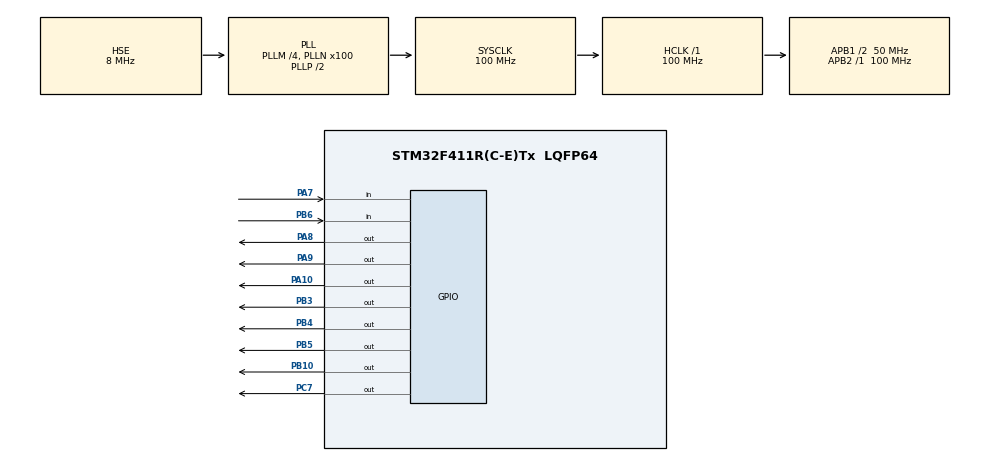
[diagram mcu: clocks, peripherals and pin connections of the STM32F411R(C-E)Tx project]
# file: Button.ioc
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Mcu.Family=STM32F4
Mcu.Name=STM32F411R(C-E)Tx
Mcu.Package=LQFP64
NVIC.PriorityGroup=NVIC_PRIORITYGROUP_4
PA10.Signal=GPIO_Output
PA13.Mode=Serial_Wire
PA13.Signal=SYS_JTMS-SWDIO
PA14.Mode=Serial_Wire
PA14.Signal=SYS_JTCK-SWCLK
PA7.Signal=GPIO_Input
PA8.Signal=GPIO_Output
PA9.Signal=GPIO_Output
PB10.Signal=GPIO_Output
PB3.Signal=GPIO_Output
PB4.Signal=GPIO_Output
PB5.Signal=GPIO_Output
PB6.Signal=GPIO_Input
PC7.Signal=GPIO_Output
PH0\ -\ OSC_IN.Mode=HSE-External-Oscillator
PH0\ -\ OSC_IN.Signal=RCC_OSC_IN
PH1\ -\ OSC_OUT.Mode=HSE-External-Oscillator
PH1\ -\ OSC_OUT.Signal=RCC_OSC_OUT
ProjectManager.HeapSize=0x200
ProjectManager.StackSize=0x400
ProjectManager.TargetToolchain=STM32CubeIDE
RCC.48MHZClocksFreq_Value=50000000
RCC.AHBFreq_Value=100000000
RCC.APB1CLKDivider=RCC_HCLK_DIV2
RCC.APB1Freq_Value=50000000
RCC.APB1TimFreq_Value=100000000
RCC.APB2Freq_Value=100000000
RCC.APB2TimFreq_Value=100000000
RCC.CortexFreq_Value=100000000
RCC.HCLKFreq_Value=100000000
RCC.HSE_VALUE=8000000
RCC.HSI_VALUE=16000000
RCC.LSE_VALUE=32768
RCC.PLLM=4
RCC.PLLN=100
RCC.PLLSourceVirtual=RCC_PLLSOURCE_HSE
RCC.SYSCLKFreq_VALUE=100000000
RCC.SYSCLKSource=RCC_SYSCLKSOURCE_PLLCLK
RCC.VCOOutputFreq_Value=200000000
board=custom

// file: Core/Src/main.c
/* USER CODE BEGIN Header */
/**
  ******************************************************************************
  * @file           : main.c
  * @brief          : Main program body
  ******************************************************************************
  * @attention
  *
  * Copyright (c) 2023 STMicroelectronics.
  * All rights reserved.
  *
  * This software is licensed under terms that can be found in the LICENSE file
  * in the root directory of this software component.
  * If no LICENSE file comes with this software, it is provided AS-IS.
  *
  ******************************************************************************
  */
/* USER CODE END Header */
#include "main.h"
#include "gpio.h"

/* USER CODE BEGIN Includes */

#include "Button.h"

/* USER CODE END Includes */

/* USER CODE BEGIN PV */

  uint8_t flag = 0;

  GPIO_TypeDef *led_tbl[8] =
      {
          GPIOA,GPIOB,GPIOB,GPIOB,GPIOB,GPIOA,GPIOA,GPIOC
      };
  uint16_t led_tbl_pin[8]=
      {
          GPIO_PIN_10, GPIO_PIN_3, GPIO_PIN_5, GPIO_PIN_4,
          GPIO_PIN_10, GPIO_PIN_8, GPIO_PIN_9, GPIO_PIN_7
      };

/* USER CODE END PV */

void SystemClock_Config(void);

int main(void)
{
  /* USER CODE BEGIN 1 */

  Button shift;     // define static variable
  //Button toggle;

  /* USER CODE END 1 */

  /* MCU Configuration--------------------------------------------------------*/

  /* Reset of all peripherals, Initializes the Flash interface and the Systick. */
  HAL_Init();

  /* USER CODE BEGIN Init */

  Button_Init(&shift, GPIOB, GPIO_PIN_6);
  //Button_Init(&toggle, GPIOA, GPIO_PIN_7);

  /* USER CODE END Init */

  /* Configure the system clock */
  SystemClock_Config();

  /* Initialize all configured peripherals */
  MX_GPIO_Init();

  /* Infinite loop */
  while (1)
  {

    /* USER CODE BEGIN 3 */

    if(Button_getState(&shift) == ACT_PUSHED)
    {
      flag = (flag + 1) % 2;
      HAL_Delay(100);
    }

    switch(flag)
    {
      case 0:
        for(int i = 0; i < 8; i++)
        {
          HAL_GPIO_WritePin(led_tbl[i], led_tbl_pin[i], SET);
          HAL_Delay(200);
          HAL_GPIO_WritePin(led_tbl[i], led_tbl_pin[i], RESET);

          if(Button_getState(&shift) == ACT_PUSHED)
          {
            flag = (flag + 1) % 2;
            HAL_Delay(100);
            break;
          }
        }
        break;
      case 1:
        for(int i = 7; i >= 0; i--)
        {
          HAL_GPIO_WritePin(led_tbl[i], led_tbl_pin[i], SET);
          HAL_Delay(200);
          HAL_GPIO_WritePin(led_tbl[i], led_tbl_pin[i], RESET);

          if(Button_getState(&shift) == ACT_PUSHED)
          {
            flag = (flag + 1) % 2;
            HAL_Delay(100);
            break;
          }
        }
        break;
      default:
        break;
    }
  }
  /* USER CODE END 3 */
}

void SystemClock_Config(void)
{
  RCC_OscInitTypeDef RCC_OscInitStruct = {0};
  RCC_ClkInitTypeDef RCC_ClkInitStruct = {0};

  /** Configure the main internal regulator output voltage
  */
  __HAL_RCC_PWR_CLK_ENABLE();
  __HAL_PWR_VOLTAGESCALING_CONFIG(PWR_REGULATOR_VOLTAGE_SCALE1);

  /** Initializes the RCC Oscillators according to the specified parameters
  * in the RCC_OscInitTypeDef structure.
  */
  RCC_OscInitStruct.OscillatorType = RCC_OSCILLATORTYPE_HSE;
  RCC_OscInitStruct.HSEState = RCC_HSE_ON;
  RCC_OscInitStruct.PLL.PLLState = RCC_PLL_ON;
  RCC_OscInitStruct.PLL.PLLSource = RCC_PLLSOURCE_HSE;
  RCC_OscInitStruct.PLL.PLLM = 4;
  RCC_OscInitStruct.PLL.PLLN = 100;
  RCC_OscInitStruct.PLL.PLLP = RCC_PLLP_DIV2;
  RCC_OscInitStruct.PLL.PLLQ = 4;
  if (HAL_RCC_OscConfig(&RCC_OscInitStruct) != HAL_OK)
  {
    Error_Handler();
  }

  /** Initializes the CPU, AHB and APB buses clocks
  */
  RCC_ClkInitStruct.ClockType = RCC_CLOCKTYPE_HCLK|RCC_CLOCKTYPE_SYSCLK
                              |RCC_CLOCKTYPE_PCLK1|RCC_CLOCKTYPE_PCLK2;
  RCC_ClkInitStruct.SYSCLKSource = RCC_SYSCLKSOURCE_PLLCLK;
  RCC_ClkInitStruct.AHBCLKDivider = RCC_SYSCLK_DIV1;
  RCC_ClkInitStruct.APB1CLKDivider = RCC_HCLK_DIV2;
  RCC_ClkInitStruct.APB2CLKDivider = RCC_HCLK_DIV1;

  if (HAL_RCC_ClockConfig(&RCC_ClkInitStruct, FLASH_LATENCY_3) != HAL_OK)
  {
    Error_Handler();
  }
}

void Error_Handler(void)
{
  __disable_irq();
  while (1)
  {
  }
}
